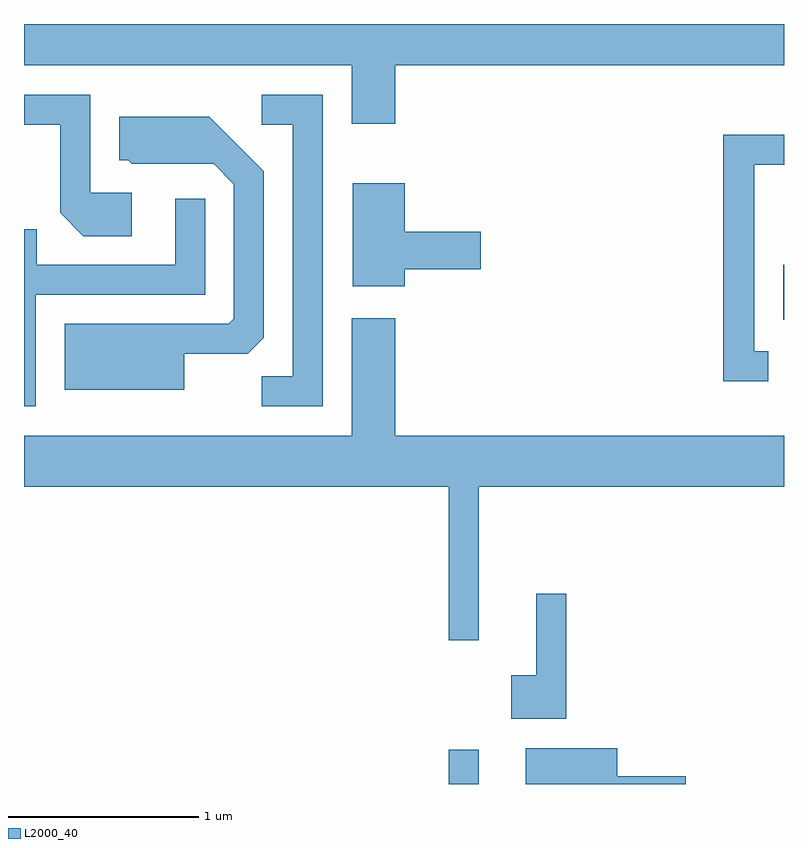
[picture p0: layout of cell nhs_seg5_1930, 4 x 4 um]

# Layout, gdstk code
import gdstk
lib = gdstk.Library(unit=1e-6, precision=1e-09)
def R(c, l, rs):  # rectangles x0, y0, x1, y1
    for r in rs: c.add(gdstk.rectangle(r[:2], r[2:], *l))
def P(c, l, *ps):  # polygons
    for p in ps: c.add(gdstk.Polygon(p, *l))
L2000_40 = (2000, 40)

nhs_seg5_1930 = lib.new_cell('nhs_seg5_1930')
R(nhs_seg5_1930, L2000_40, [(243.846,1504.072,244.004,1504.253), (245.606,1506.516,245.611,1506.804)])
P(nhs_seg5_1930, L2000_40, [(243.564,1507.856),(245.611,1507.856),(245.611,1508.072),(241.611,1508.072),(241.611,1507.856),(243.336,1507.856),(243.336,1507.546),(243.564,1507.546)],
  [(243.184,1507.699),(242.863,1507.699),(242.863,1507.541),(243.026,1507.541),(243.026,1506.219),(242.863,1506.219),(242.863,1506.061),(243.184,1506.061)],
  [(242.179,1507.184),(241.959,1507.184),(241.959,1507.699),(241.611,1507.699),(241.611,1507.541),(241.801,1507.541),(241.801,1507.079),(241.924,1506.956),(242.179,1506.956)],
  [(242.454,1506.336),(242.789,1506.336),(242.874,1506.422),(242.874,1507.297),(242.587,1507.584),(242.111,1507.584),(242.111,1507.356),(242.159,1507.356),(242.179,1507.336),(242.609,1507.336),(242.716,1507.229),(242.716,1506.522),(242.689,1506.494),(241.826,1506.494),(241.826,1506.146),(242.454,1506.146)],
  [(245.528,1506.349),(245.454,1506.349),(245.454,1507.331),(245.611,1507.331),(245.611,1507.489),(245.291,1507.489),(245.291,1506.191),(245.528,1506.191)],
  [(243.614,1506.781),(244.014,1506.781),(244.014,1506.979),(243.614,1506.979),(243.614,1507.234),(243.341,1507.234),(243.341,1506.691),(243.614,1506.691)],
  [(241.674,1506.646),(242.564,1506.646),(242.564,1507.153),(242.406,1507.153),(242.406,1506.804),(241.679,1506.804),(241.679,1506.993),(241.611,1506.993),(241.611,1506.061),(241.674,1506.061)],
  [(244.004,1505.636),(245.611,1505.636),(245.611,1505.904),(243.564,1505.904),(243.564,1506.524),(243.336,1506.524),(243.336,1505.904),(241.611,1505.904),(241.611,1505.636),(243.846,1505.636),(243.846,1504.828),(244.004,1504.828)],
  [(244.464,1505.073),(244.306,1505.073),(244.306,1504.644),(244.176,1504.644),(244.176,1504.416),(244.464,1504.416)],
  [(245.094,1504.114),(244.734,1504.114),(244.734,1504.259),(244.251,1504.259),(244.251,1504.072),(245.094,1504.072)])

lib.write_gds('nhs_seg5_1930.gds')
